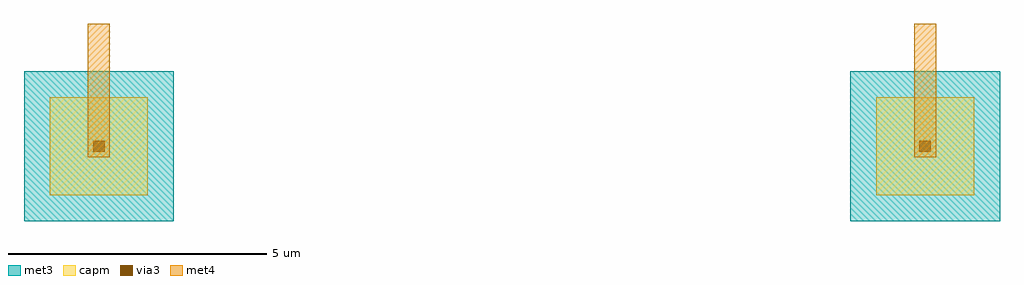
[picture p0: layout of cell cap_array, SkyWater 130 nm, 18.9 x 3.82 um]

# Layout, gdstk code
import gdstk
lib = gdstk.Library(unit=1e-6, precision=1e-09)
def R(c, l, rs):  # rectangles x0, y0, x1, y1
    for r in rs: c.add(gdstk.rectangle(r[:2], r[2:], *l))
met3 = (70, 20)
via3 = (70, 44)
met4 = (71, 20)
capm = (89, 44)

cap_array = lib.new_cell('cap_array')
R(cap_array, met3, [(0,0,2.898,2.898), (16,0,18.898,2.898)])
R(cap_array, via3, [(1.339,1.339,1.559,1.559), (17.339,1.339,17.559,1.559)])
R(cap_array, met4, [(1.239,1.239,1.659,1.659), (17.239,1.239,17.659,1.659), (1.239,1.659,1.659,3.398), (17.239,1.659,17.659,3.398), (1.239,3.398,1.659,3.818), (17.239,3.398,17.659,3.818)])
R(cap_array, capm, [(0.5,0.5,2.398,2.398), (16.5,0.5,18.398,2.398)])

lib.write_gds('cap_array.gds')
